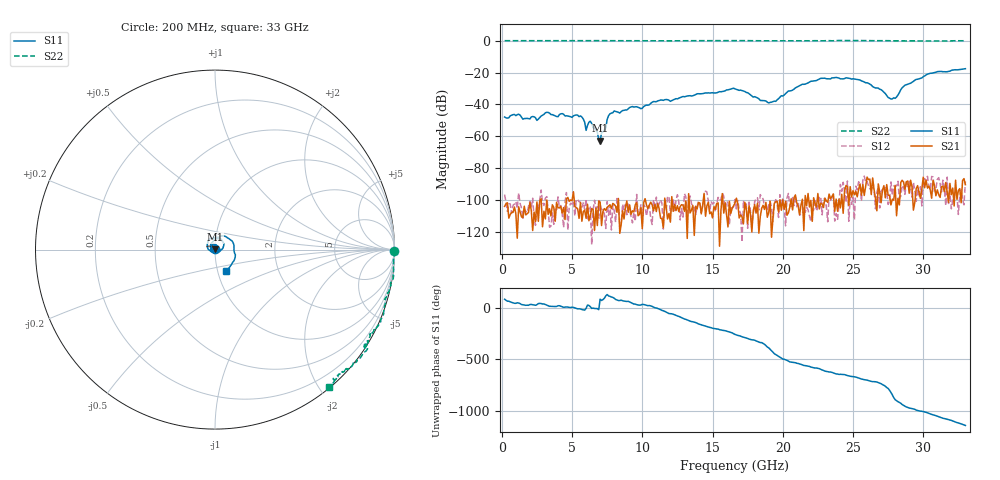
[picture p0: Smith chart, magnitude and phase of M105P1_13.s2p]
# GHZ S RI R 50
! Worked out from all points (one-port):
!   329 points, 200 MHz to 33 GHz, reference 50 ohm
!   lowest |S11| = -62.8 dB at 7 GHz (marker M1), VSWR 1.00, Z = 50 + j0.0721 ohm
!   |S11| at or under -10 dB: start of sweep to end of sweep
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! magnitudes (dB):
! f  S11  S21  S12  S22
! 200 MHz  -47.8  -103.9  -96.5  0.0
! 1.2 GHz  -46.1  -104.1  -95.5  0.0
! 2.5 GHz  -50.0  -101.1  -102.4  0.0
! 3.2 GHz  -45.0  -99.9  -97.8  0.0
! 5.7 GHz  -47.9  -113.2  -104.4  0.0
! 6 GHz  -56.2  -111.4  -99.3  0.0
! 6.3 GHz  -50.5  -109.7  -104.3  0.1
! 7 GHz  -62.8  -101.2  -102.5  0.0
! 7.1 GHz  -58.0  -115.9  -105.9  0.0
! 7.4 GHz  -54.9  -106.4  -117.7  0.0
! 7.5 GHz  -49.4  -104.5  -100.9  0.0
! 7.7 GHz  -45.9  -103.0  -102.9  0.0
! 11.2 GHz  -37.5  -105.4  -102.0  -0.1
! 16.6 GHz  -30.2  -101.8  -99.6  0.1
! 19 GHz  -39.0  -107.7  -102.6  -0.1
! 22.1 GHz  -25.4  -113.3  -106.3  0.0
! 25.5 GHz  -24.7  -89.8  -90.5  0.1
! 27.6 GHz  -36.1  -97.1  -100.6  0.0
! 28 GHz  -36.2  -90.8  -91.7  -0.1
! 28.7 GHz  -27.9  -93.2  -96.3  -0.2
! 30.3 GHz  -21.0  -92.4  -85.1  -0.2
! 33 GHz  -17.6  -90.3  -88.2  -0.1
